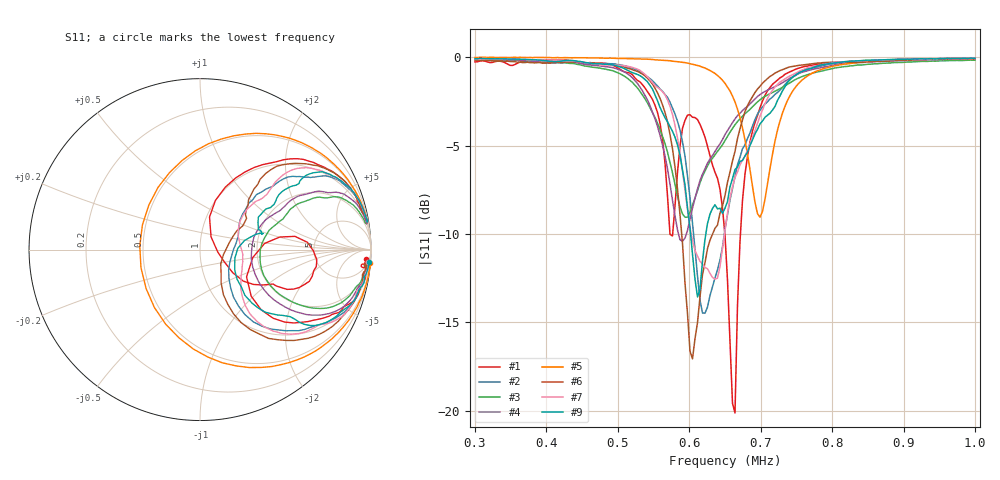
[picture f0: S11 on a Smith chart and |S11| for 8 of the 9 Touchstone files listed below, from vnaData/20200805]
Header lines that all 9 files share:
!Agilent Technologies,E5071C,MY46100305,A.07.02
!Data & Calibration Information:
!Freq	S11:SOLT1(ON)
# Hz S MA R 50
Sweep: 300 kHz to 1 MHz
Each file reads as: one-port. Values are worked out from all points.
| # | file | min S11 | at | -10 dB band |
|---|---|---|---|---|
| 1 | XDR0NMLMATCHING.S1P | -20.1 dB | 664 kHz | 21.79 kHz wide |
| 2 | XDR1MATCHING.S1P | -14.5 dB | 622 kHz | 43.04 kHz wide |
| 3 | XDR1U164MATCHING.S1P | -9.1 dB | 597.5 kHz | - |
| 4 | XDR1U168MATCHING.S1P | -10.4 dB | 590.5 kHz | 10.91 kHz wide |
| 5 | XDR2MATCHING.S1P | -9.0 dB | 699 kHz | - |
| 6 | XDR3MATCHING.S1P | -17.1 dB | 604.5 kHz | 43.25 kHz wide |
| 7 | XDR4MATCHING.S1P | -12.5 dB | 636 kHz | 46.5 kHz wide |
| 8 | XDR5MATCHING.S1P | -20.2 dB | 622 kHz | 32.85 kHz wide |
| 9 | XDR6MATCHING.S1P | -13.6 dB | 611.5 kHz | 21.35 kHz wide |
